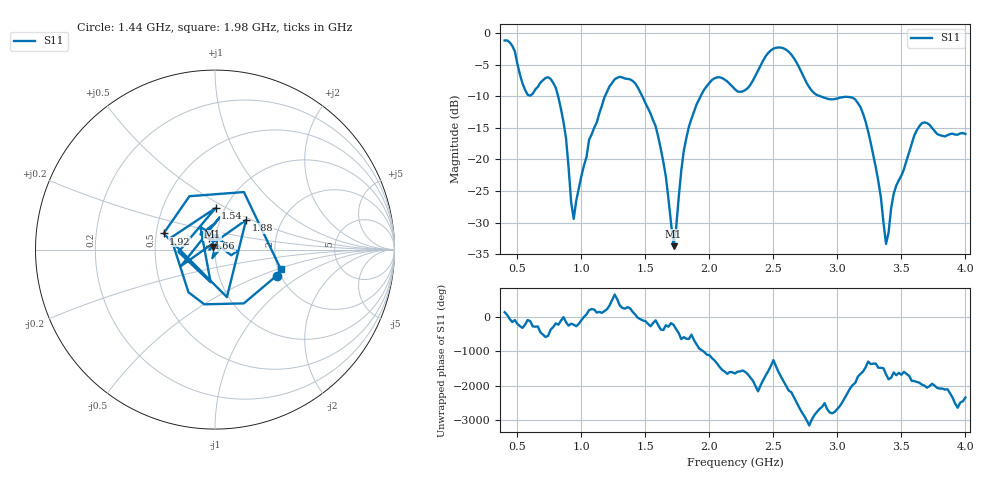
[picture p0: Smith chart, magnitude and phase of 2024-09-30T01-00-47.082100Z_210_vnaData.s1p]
!Created with skrf (http://scikit-rf.org).
# Hz S RI R 50.0
!freq ReS11 ImS11
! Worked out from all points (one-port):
!   181 points, 400 MHz to 4 GHz, reference 50 ohm
!   lowest |S11| = -33.7 dB at 1.72 GHz (marker M1), VSWR 1.04, Z = 48.7 + j1.52 ohm
!   |S11| at or under -10 dB: 818.3 MHz to 1.183 GHz (365.2 MHz wide, 36.5 % of centre); 1.476 GHz to 1.931 GHz (455.1 MHz wide, 26.7 % of centre); 2.868 GHz to end of sweep
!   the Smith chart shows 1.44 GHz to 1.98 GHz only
!   S11 on the Smith chart (normalised r, x): 1.44 GHz: 1.90, -0.64; 1.54 GHz: 0.90, +0.44; 1.66 GHz: 0.92, +0.12; 1.88 GHz: 1.33, +0.46; 1.92 GHz: 0.55, +0.11; 1.98 GHz: 2.06, -0.52
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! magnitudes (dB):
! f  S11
! 400 MHz  -1.2
! 580 MHz  -9.8
! 760 MHz  -7.2
! 860 MHz  -14.1
! 940 MHz  -29.4
! 1.06 GHz  -16.9
! 1.3 GHz  -6.9
! 1.44 GHz  -8.6
! 1.54 GHz  -12.7
! 1.66 GHz  -22.7
! 1.72 GHz  -33.7
! 1.76 GHz  -26.1
! 1.8 GHz  -18.6
! 1.88 GHz  -12.4
! 1.92 GHz  -10.5
! 1.98 GHz  -8.4
! 2.2 GHz  -8.9
! 2.5 GHz  -2.5
! 2.66 GHz  -3.9
! 2.84 GHz  -9.8
! 3.1 GHz  -10.1
! 3.24 GHz  -15.5
! 3.32 GHz  -23.5
! 3.38 GHz  -33.4
! 3.44 GHz  -25.4
! 3.56 GHz  -18.9
! 3.66 GHz  -14.3
! 4 GHz  -16.0
